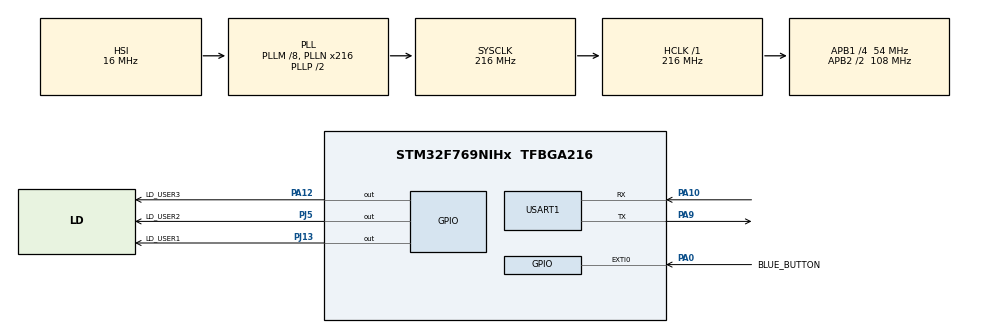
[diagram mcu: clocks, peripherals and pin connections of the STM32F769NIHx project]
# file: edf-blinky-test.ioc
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Mcu.Family=STM32F7
Mcu.Name=STM32F769NIHx
Mcu.Package=TFBGA216
NVIC.EXTI0_IRQn=true\:0\:0\:false\:false\:true\:true\:true
NVIC.PriorityGroup=NVIC_PRIORITYGROUP_4
NVIC.TIM6_DAC_IRQn=true\:0\:0\:false\:false\:true\:false\:true
NVIC.TimeBase=TIM6_DAC_IRQn
NVIC.TimeBaseIP=TIM6
PA0/WKUP.GPIO_Label=BLUE_BUTTON
PA0/WKUP.GPIO_ModeDefaultEXTI=GPIO_MODE_IT_FALLING
PA0/WKUP.GPIO_PuPd=GPIO_NOPULL
PA0/WKUP.Signal=GPXTI0
PA10.Mode=Asynchronous
PA10.Signal=USART1_RX
PA12.GPIO_Label=LD_USER3
PA12.Signal=GPIO_Output
PA9.Mode=Asynchronous
PA9.Signal=USART1_TX
PH0/OSC_IN.Mode=HSE-External-Oscillator
PH0/OSC_IN.Signal=RCC_OSC_IN
PH1/OSC_OUT.Mode=HSE-External-Oscillator
PH1/OSC_OUT.Signal=RCC_OSC_OUT
PJ13.GPIO_Label=LD_USER1
PJ13.Signal=GPIO_Output
PJ5.GPIO_Label=LD_USER2
PJ5.Signal=GPIO_Output
ProjectManager.HeapSize=0x200
ProjectManager.StackSize=0x400
ProjectManager.TargetToolchain=STM32CubeIDE
RCC.AHBFreq_Value=216000000
RCC.APB1CLKDivider=RCC_HCLK_DIV4
RCC.APB1Freq_Value=54000000
RCC.APB1TimFreq_Value=108000000
RCC.APB2CLKDivider=RCC_HCLK_DIV2
RCC.APB2Freq_Value=108000000
RCC.APB2TimFreq_Value=216000000
RCC.CortexFreq_Value=216000000
RCC.HCLKFreq_Value=216000000
RCC.HSE_VALUE=25000000
RCC.HSI_VALUE=16000000
RCC.LSE_VALUE=32768
RCC.PLLM=8
RCC.PLLN=216
RCC.PLLQ=9
RCC.PLLSAIQ=3
RCC.SYSCLKFreq_VALUE=216000000
RCC.SYSCLKSource=RCC_SYSCLKSOURCE_PLLCLK
RCC.USBFreq_Value=48000000
RCC.VCOOutputFreq_Value=432000000
USART1.VirtualMode-Asynchronous=VM_ASYNC
VP_RNG_VS_RNG.Mode=RNG_Activate
VP_SYS_VS_tim6.Mode=TIM6
board=STM32F769I-DISCO

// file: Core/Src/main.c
/* USER CODE BEGIN Header */
/**
  ******************************************************************************
  * @file           : main.c
  * @brief          : Main program body
  ******************************************************************************
  * @attention
  *
  * <h2><center>&copy; Copyright (c) 2020 STMicroelectronics.
  * All rights reserved.</center></h2>
  *
  * This software component is licensed by ST under BSD 3-Clause license,
  * the "License"; You may not use this file except in compliance with the
  * License. You may obtain a copy of the License at:
  *                        opensource.org/licenses/BSD-3-Clause
  *
  ******************************************************************************
  */
/* USER CODE END Header */
#include "main.h"

/* USER CODE BEGIN Includes */
#include "FreeRTOS.h"
#include "task.h"
#include "helper_functions.h"
#include "edf_tasks.h"
/* USER CODE END Includes */

RNG_HandleTypeDef hrng;

UART_HandleTypeDef huart1;

/* USER CODE BEGIN PV */
uint16_t buttonCounter = 0;
/* USER CODE END PV */

void SystemClock_Config(void);
static void MX_GPIO_Init(void);
static void MX_USART1_UART_Init(void);
static void MX_RNG_Init(void);

/* USER CODE BEGIN 0 */

void HAL_GPIO_EXTI_Callback ( uint16_t GPIO_Pin)
{
	if ( GPIO_Pin == BLUE_BUTTON_Pin)
	{
		buttonCounter++;
	}
	else
	{
		__NOP();
	}
}
/* USER CODE END 0 */

int main(void)
{

  /* MCU Configuration--------------------------------------------------------*/

  /* Reset of all peripherals, Initializes the Flash interface and the Systick. */
  HAL_Init();

  /* Configure the system clock */
  SystemClock_Config();

  /* Initialize all configured peripherals */
  MX_GPIO_Init();
  MX_USART1_UART_Init();
  MX_RNG_Init();
  /* USER CODE BEGIN 2 */
  debugPrintln( "Init FreeRTOS..." );
  HAL_GPIO_EXTI_IRQHandler(BLUE_BUTTON_Pin);

  HAL_GPIO_TogglePin(LD_USER1_GPIO_Port, LD_USER1_Pin);
  HAL_GPIO_TogglePin(LD_USER2_GPIO_Port, LD_USER2_Pin);
  HAL_GPIO_TogglePin(LD_USER3_GPIO_Port, LD_USER3_Pin);
  debugPrintln( "Starting FreeRTOS..." );
  vTaskStartScheduler();
  /* USER CODE END 2 */

  /* Infinite loop */
  while (1)
  {

  }
}

void SystemClock_Config(void)
{
  RCC_OscInitTypeDef RCC_OscInitStruct = {0};
  RCC_ClkInitTypeDef RCC_ClkInitStruct = {0};
  RCC_PeriphCLKInitTypeDef PeriphClkInitStruct = {0};

  /** Configure the main internal regulator output voltage
  */
  __HAL_RCC_PWR_CLK_ENABLE();
  __HAL_PWR_VOLTAGESCALING_CONFIG(PWR_REGULATOR_VOLTAGE_SCALE1);
  /** Initializes the RCC Oscillators according to the specified parameters
  * in the RCC_OscInitTypeDef structure.
  */
  RCC_OscInitStruct.OscillatorType = RCC_OSCILLATORTYPE_HSI;
  RCC_OscInitStruct.HSIState = RCC_HSI_ON;
  RCC_OscInitStruct.HSICalibrationValue = RCC_HSICALIBRATION_DEFAULT;
  RCC_OscInitStruct.PLL.PLLState = RCC_PLL_ON;
  RCC_OscInitStruct.PLL.PLLSource = RCC_PLLSOURCE_HSI;
  RCC_OscInitStruct.PLL.PLLM = 8;
  RCC_OscInitStruct.PLL.PLLN = 216;
  RCC_OscInitStruct.PLL.PLLP = RCC_PLLP_DIV2;
  RCC_OscInitStruct.PLL.PLLQ = 9;
  if (HAL_RCC_OscConfig(&RCC_OscInitStruct) != HAL_OK)
  {
    Error_Handler();
  }
  /** Activate the Over-Drive mode
  */
  if (HAL_PWREx_EnableOverDrive() != HAL_OK)
  {
    Error_Handler();
  }
  /** Initializes the CPU, AHB and APB buses clocks
  */
  RCC_ClkInitStruct.ClockType = RCC_CLOCKTYPE_HCLK|RCC_CLOCKTYPE_SYSCLK
                              |RCC_CLOCKTYPE_PCLK1|RCC_CLOCKTYPE_PCLK2;
  RCC_ClkInitStruct.SYSCLKSource = RCC_SYSCLKSOURCE_PLLCLK;
  RCC_ClkInitStruct.AHBCLKDivider = RCC_SYSCLK_DIV1;
  RCC_ClkInitStruct.APB1CLKDivider = RCC_HCLK_DIV4;
  RCC_ClkInitStruct.APB2CLKDivider = RCC_HCLK_DIV2;

  if (HAL_RCC_ClockConfig(&RCC_ClkInitStruct, FLASH_LATENCY_7) != HAL_OK)
  {
    Error_Handler();
  }
  PeriphClkInitStruct.PeriphClockSelection = RCC_PERIPHCLK_USART1|RCC_PERIPHCLK_CLK48;
  PeriphClkInitStruct.Usart1ClockSelection = RCC_USART1CLKSOURCE_PCLK2;
  PeriphClkInitStruct.Clk48ClockSelection = RCC_CLK48SOURCE_PLL;
  if (HAL_RCCEx_PeriphCLKConfig(&PeriphClkInitStruct) != HAL_OK)
  {
    Error_Handler();
  }
}

static void MX_RNG_Init(void)
{

  hrng.Instance = RNG;
  if (HAL_RNG_Init(&hrng) != HAL_OK)
  {
    Error_Handler();
  }

}

static void MX_USART1_UART_Init(void)
{

  huart1.Instance = USART1;
  huart1.Init.BaudRate = 115200;
  huart1.Init.WordLength = UART_WORDLENGTH_8B;
  huart1.Init.StopBits = UART_STOPBITS_1;
  huart1.Init.Parity = UART_PARITY_NONE;
  huart1.Init.Mode = UART_MODE_TX_RX;
  huart1.Init.HwFlowCtl = UART_HWCONTROL_NONE;
  huart1.Init.OverSampling = UART_OVERSAMPLING_16;
  huart1.Init.OneBitSampling = UART_ONE_BIT_SAMPLE_DISABLE;
  huart1.AdvancedInit.AdvFeatureInit = UART_ADVFEATURE_NO_INIT;
  if (HAL_UART_Init(&huart1) != HAL_OK)
  {
    Error_Handler();
  }

}

static void MX_GPIO_Init(void)
{
  GPIO_InitTypeDef GPIO_InitStruct = {0};

  /* GPIO Ports Clock Enable */
  __HAL_RCC_GPIOJ_CLK_ENABLE();
  __HAL_RCC_GPIOA_CLK_ENABLE();
  __HAL_RCC_GPIOH_CLK_ENABLE();

  /*Configure GPIO pin Output Level */
  HAL_GPIO_WritePin(GPIOJ, LD_USER1_Pin|LD_USER2_Pin, GPIO_PIN_RESET);

  /*Configure GPIO pin Output Level */
  HAL_GPIO_WritePin(LD_USER3_GPIO_Port, LD_USER3_Pin, GPIO_PIN_RESET);

  /*Configure GPIO pins : LD_USER1_Pin LD_USER2_Pin */
  GPIO_InitStruct.Pin = LD_USER1_Pin|LD_USER2_Pin;
  GPIO_InitStruct.Mode = GPIO_MODE_OUTPUT_PP;
  GPIO_InitStruct.Pull = GPIO_NOPULL;
  GPIO_InitStruct.Speed = GPIO_SPEED_FREQ_LOW;
  HAL_GPIO_Init(GPIOJ, &GPIO_InitStruct);

  /*Configure GPIO pin : LD_USER3_Pin */
  GPIO_InitStruct.Pin = LD_USER3_Pin;
  GPIO_InitStruct.Mode = GPIO_MODE_OUTPUT_PP;
  GPIO_InitStruct.Pull = GPIO_NOPULL;
  GPIO_InitStruct.Speed = GPIO_SPEED_FREQ_LOW;
  HAL_GPIO_Init(LD_USER3_GPIO_Port, &GPIO_InitStruct);

  /*Configure GPIO pin : BLUE_BUTTON_Pin */
  GPIO_InitStruct.Pin = BLUE_BUTTON_Pin;
  GPIO_InitStruct.Mode = GPIO_MODE_IT_FALLING;
  GPIO_InitStruct.Pull = GPIO_NOPULL;
  HAL_GPIO_Init(BLUE_BUTTON_GPIO_Port, &GPIO_InitStruct);

  /* EXTI interrupt init*/
  HAL_NVIC_SetPriority(EXTI0_IRQn, 0, 0);
  HAL_NVIC_EnableIRQ(EXTI0_IRQn);

}

 /**
  * @brief  Period elapsed callback in non blocking mode
  * @note   This function is called  when TIM6 interrupt took place, inside
  * HAL_TIM_IRQHandler(). It makes a direct call to HAL_IncTick() to increment
  * a global variable "uwTick" used as application time base.
  * @param  htim : TIM handle
  * @retval None
  */
void HAL_TIM_PeriodElapsedCallback(TIM_HandleTypeDef *htim)
{
  if (htim->Instance == TIM6) {
    HAL_IncTick();
  }
}

void Error_Handler(void)
{
  __disable_irq();
  while (1)
  {
  }
}

/************************ (C) COPYRIGHT STMicroelectronics *****END OF FILE****/
